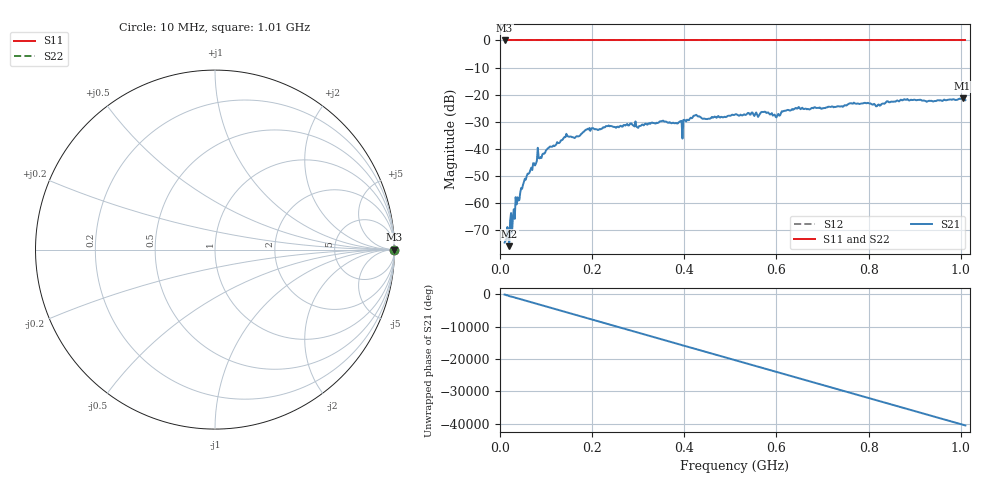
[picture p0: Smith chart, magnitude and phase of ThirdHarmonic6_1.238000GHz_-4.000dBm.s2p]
! 8/16/2025 1:07:31 PM
! C:\ANRITSUVNA\TEMP\TEMP.S2P
! CHANNEL.1
! TR.MEASUREMENT
! RAW.DATA
! RF.CORRECTION.OFF
! AVERAGING.OFF
! IF.BANDWIDTH: 5KHZ
! SWEEPTYPE:  FREQ.SWEEP(Linear)
! Reference Plane Port Info
! PORT:  PORT1  PORT2
! DISTANCE:  0  m  0  m
! TIME:  0  s  0  s
! PHASE.OFFSET:  0  deg.  0  deg.
! LOSS:  0  dB  0  dB
! REF.LOSS:  0  dB  0  dB
! REF.FREQ:  0  Hz  0  Hz
! Power Info
! POWER:  -20  dBm  -20  dBm
! EFF.POWER:  -20  dBm  -20  dBm
! SOURCE.ATTEN:  0  dB  0  dB
! TEST.ATTEN:  0  dB  0  dB
# GHZ S RI R 50.0
! FREQ.GHZ  S11RE  S11IM  S21RE  S21IM  S12RE  S12IM  S22RE  S22IM
!; PortSelection: Port_12
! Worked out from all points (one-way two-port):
!   501 points, 10 MHz to 1.01 GHz, reference 50 ohm
!   highest |S21| = -21.37 dB at 1.004 GHz (marker M1); lowest = -75.8 dB at 20 MHz (marker M2)
!   lowest |S11| = 0.0 dB at 10 MHz (marker M3)
!   |S11| at or under -10 dB: nowhere
!   |S22| runs from 0.0 to 0.0 dB; largest |S21 - S12| = 1.1
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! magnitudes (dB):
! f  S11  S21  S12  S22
! 10 MHz  0.0  -74.5  0.0  0.0
! 16 MHz  0.0  -68.7  0.0  0.0
! 20 MHz  0.0  -75.8  0.0  0.0
! 22 MHz  0.0  -66.3  0.0  0.0
! 34 MHz  0.0  -57.7  0.0  0.0
! 50 MHz  0.0  -53.1  0.0  0.0
! 84 MHz  0.0  -43.3  0.0  0.0
! 142 MHz  0.0  -35.6  0.0  0.0
! 178 MHz  0.0  -34.2  0.0  0.0
! 234 MHz  0.0  -31.6  0.0  0.0
! 344 MHz  0.0  -30.3  0.0  0.0
! 392 MHz  0.0  -29.7  0.0  0.0
! 424 MHz  0.0  -27.6  0.0  0.0
! 450 MHz  0.0  -29.0  0.0  0.0
! 510 MHz  0.0  -27.3  0.0  0.0
! 572 MHz  0.0  -26.4  0.0  0.0
! 602 MHz  0.0  -27.5  0.0  0.0
! 644 MHz  0.0  -25.1  0.0  0.0
! 678 MHz  0.0  -24.8  0.0  0.0
! 844 MHz  0.0  -22.8  0.0  0.0
! 1.004 GHz  0.0  -21.4  0.0  0.0
! 1.01 GHz  0.0  -22.0  0.0  0.0
